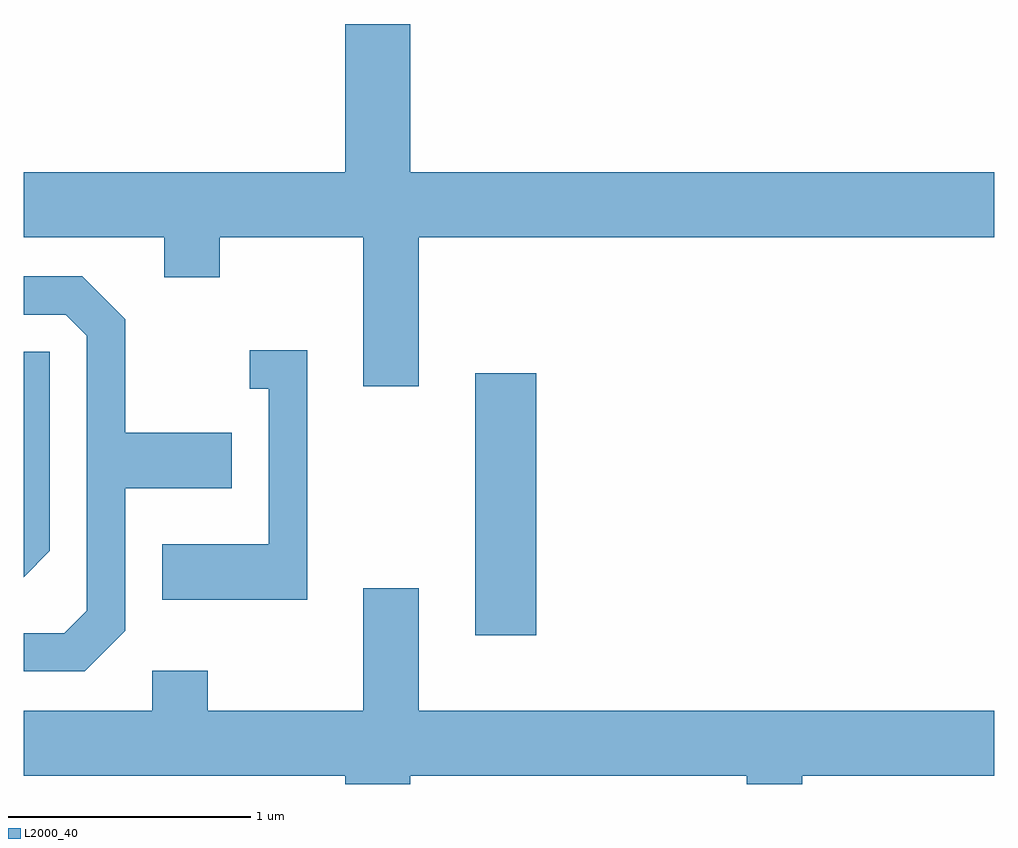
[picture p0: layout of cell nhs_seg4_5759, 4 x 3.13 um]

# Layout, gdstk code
import gdstk
lib = gdstk.Library(unit=1e-6, precision=1e-09)
def R(c, l, rs):  # rectangles x0, y0, x1, y1
    for r in rs: c.add(gdstk.rectangle(r[:2], r[2:], *l))
def P(c, l, *ps):  # polygons
    for p in ps: c.add(gdstk.Polygon(p, *l))
L2000_40 = (2000, 40)

nhs_seg4_5759 = lib.new_cell('nhs_seg4_5759')
R(nhs_seg4_5759, L2000_40, [(355.471,1348.596,355.724,1349.674)])
P(nhs_seg4_5759, L2000_40, [(355.239,1350.236),(357.611,1350.236),(357.611,1350.504),(355.204,1350.504),(355.204,1351.114),(354.936,1351.114),(354.936,1350.504),(353.611,1350.504),(353.611,1350.236),(354.191,1350.236),(354.191,1350.071),(354.419,1350.071),(354.419,1350.236),(355.011,1350.236),(355.011,1349.621),(355.239,1349.621)],
  [(354.029,1348.614),(354.029,1349.201),(354.469,1349.201),(354.469,1349.429),(354.029,1349.429),(354.029,1349.897),(353.852,1350.074),(353.611,1350.074),(353.611,1349.916),(353.784,1349.916),(353.871,1349.829),(353.871,1348.697),(353.779,1348.604),(353.611,1348.604),(353.611,1348.446),(353.862,1348.446)],
  [(354.779,1349.769),(354.543,1349.769),(354.543,1349.611),(354.621,1349.611),(354.621,1348.969),(354.181,1348.969),(354.181,1348.741),(354.779,1348.741)],
  [(353.719,1348.944),(353.719,1349.764),(353.611,1349.764),(353.611,1348.835)],
  [(355.204,1348.016),(356.591,1348.016),(356.591,1347.982),(356.819,1347.982),(356.819,1348.016),(357.611,1348.016),(357.611,1348.284),(355.239,1348.284),(355.239,1348.789),(355.011,1348.789),(355.011,1348.284),(354.369,1348.284),(354.369,1348.449),(354.141,1348.449),(354.141,1348.284),(353.611,1348.284),(353.611,1348.016),(354.936,1348.016),(354.936,1347.982),(355.204,1347.982)])

lib.write_gds('nhs_seg4_5759.gds')
